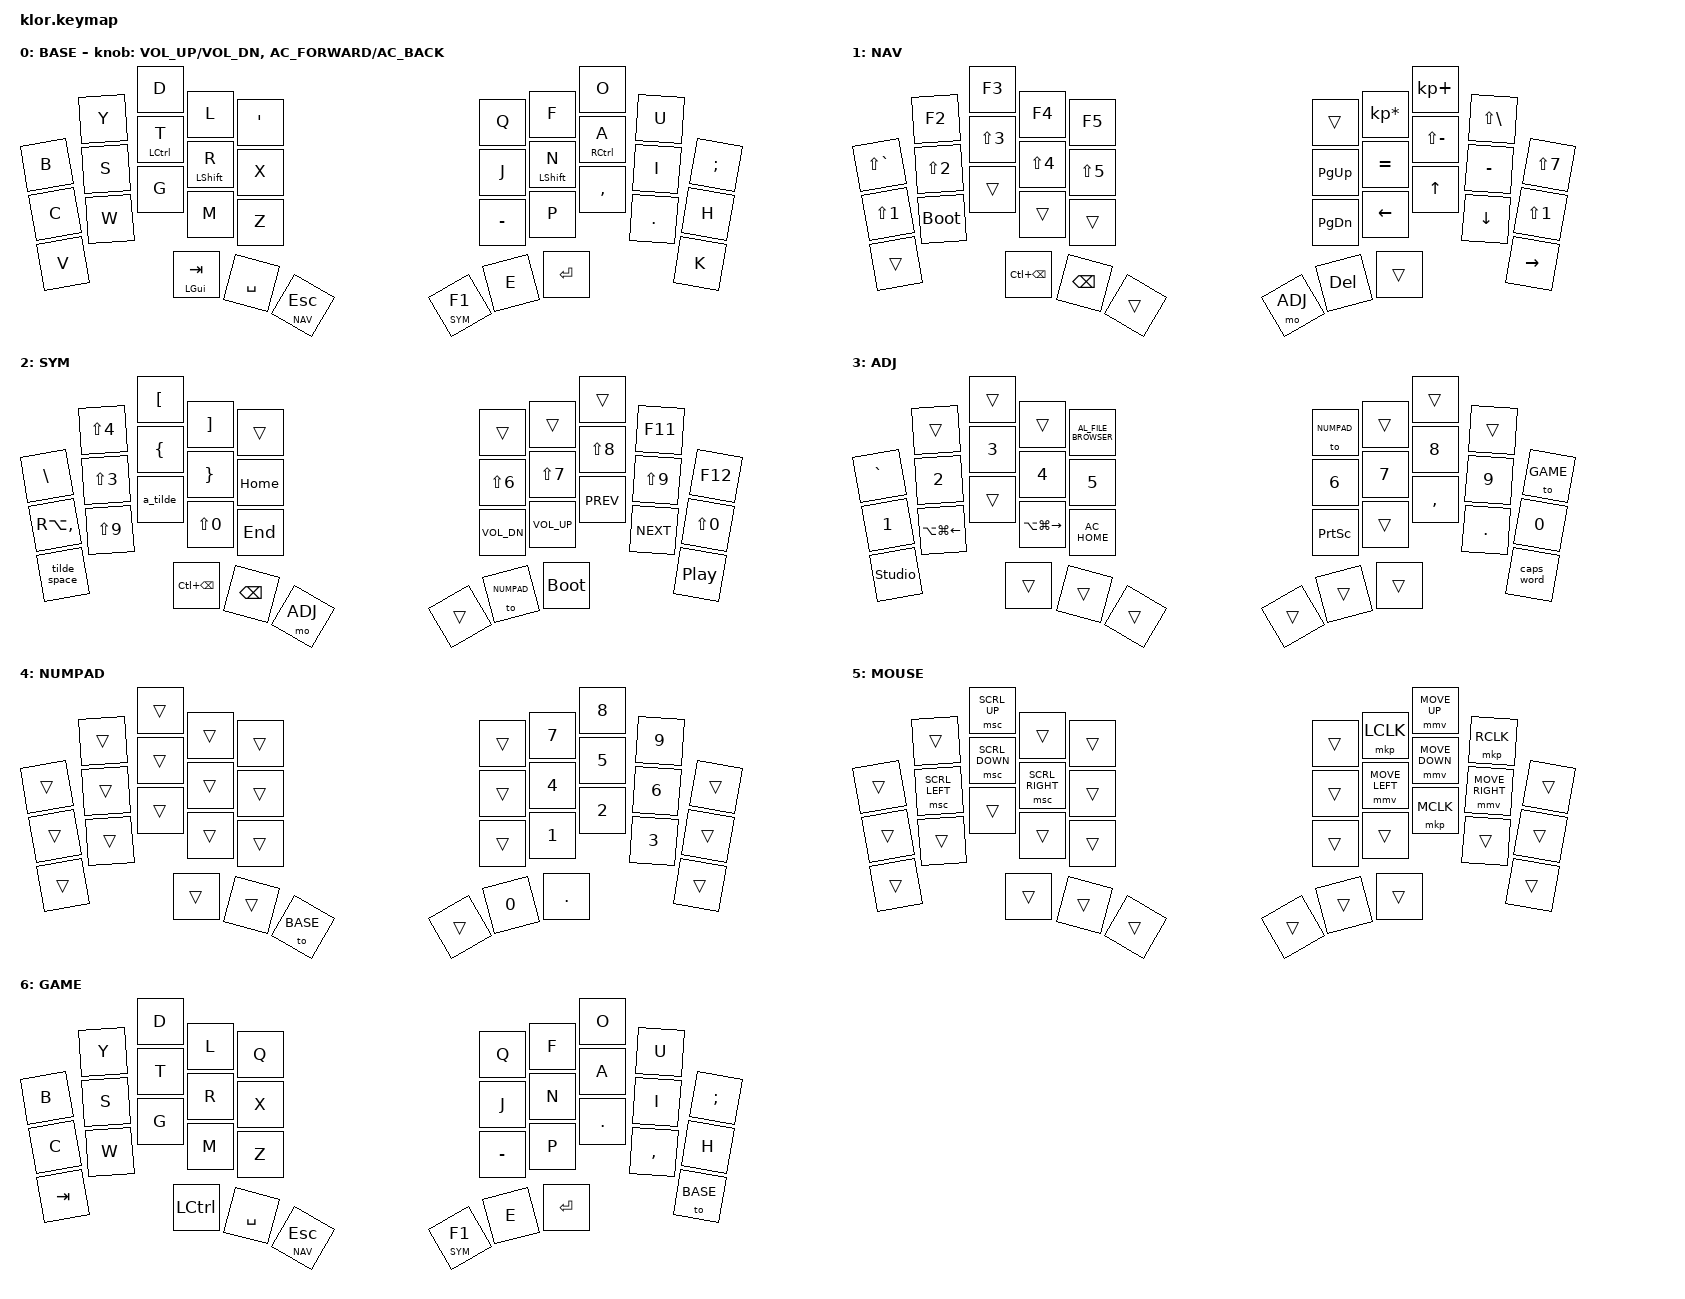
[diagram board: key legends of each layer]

//                               █         █    █            ▄▄▄▀▀▀▀▀▀▄▄▄        █▀▀▀▀▀▀▀▀▀▀█
//                               █        █     █          ▄▀            ▀▄      █          █
//                               █       █      █        ▄▀                ▀▄    █          █
//                               █      █       █        █                  █    █          █
//                               █     █        █       █                    █   █          █
//                               █    █         █       █                    █   █▄▄▄▄▄▄▄▄▄▄█
//                               █   █ █        █       █                    █   █      █
//                               █  █   █       █        █                  █    █       █
//                               █ █     █      █        ▀▄                ▄▀    █        █
//                               ██       █     █          ▀▄            ▄▀      █         █
//                               █         █    █▄▄▄▄▄▄▄▄    ▀▀▀▄▄▄▄▄▄▀▀▀        █          █
//
// ▄▄▄▄▄▄▄▄▄▄▄▄▄▄▄▄▄▄▄▄▄▄▄▄▄▄▄▄▄▄▄▄▄▄▄▄▄▄▄▄▄▄▄▄▄▄▄▄▄▄▄▄▄▄▄▄▄▄▄▄▄▄▄▄▄▄▄▄▄▄▄▄▄▄▄▄▄▄▄▄▄▄▄▄▄▄▄▄▄▄▄▄▄▄▄▄▄▄▄▄▄▄▄▄▄▄▄▄▄▄▄▄▄▄▄▄▄▄▄▄▄▄▄▄▄

#include <behaviors.dtsi>
#include <dt-bindings/zmk/keys.h>
#include <dt-bindings/zmk/bt.h>
#include <dt-bindings/zmk/outputs.h>

#define ZMK_POINTING_DEFAULT_MOVE_VAL 1800

#include <dt-bindings/zmk/pointing.h>


#define BASE 0
#define NAV  1
#define SYM  2
#define ADJ  3
#define NUMPAD 4
#define MOUSE 5
#define GAME 6

&mt {
  quick-tap-ms = <100>;
  global-quick-tap;
  flavor = "tap-preferred";
  tapping-term-ms = <180>;
};

&lt {
    tapping-term-ms = <130>;
    flavor = "hold-preferred";
};

/ {
    behaviors {
        hml: home_row_mod_left {
            compatible = "zmk,behavior-hold-tap";
            #binding-cells = <2>;
            flavor = "tap-preferred";
            require-prior-idle-ms = <100>;
            tapping-term-ms = <200>;
            quick-tap-ms = <150>;
            bindings = <&kp>, <&kp>;
            hold-while-undecided;
            hold-trigger-key-positions = <5 6 7 8 9 15 16 17 18 19 25 26 27 28 29 30 31 32 33 34 35>; // List of keys on the right side of the keyboard
        };
        hmr: home_row_mod_right {
            compatible = "zmk,behavior-hold-tap";
            #binding-cells = <2>;
            flavor = "tap-preferred";
            require-prior-idle-ms = <100>;
            tapping-term-ms = <200>;
            quick-tap-ms = <150>;
            bindings = <&kp>, <&kp>;
            hold-while-undecided;
            hold-trigger-key-positions = <0 1 2 3 4 10 11 12 13 14 20 21 22 23 24 30 31 32 33 34 35>; // List of keys on the left side of the keyboard
        };

    };

     combos {
        compatible = "zmk,combos";

        combo_alt {
          timeout-ms = <50>;
          key-positions = <20 21>;
          bindings = <&kp LALT>;
        };

        combo_quote {
          timeout-ms = <50>;
          key-positions = <27 28>;
          bindings = <&double_quote>;
        };

        combo_slash {
          timeout-ms = <50>;
          key-positions = <26 27>;
          bindings = <&kp SLASH>;
        };

        combo_mouse {
          timeout-ms = <50>;
          key-positions = <30 35>;
          bindings = <&mo MOUSE>;
        };
     };

     macros {
        double_quote: double_quote {
            compatible = "zmk,behavior-macro";
            #binding-cells = <0>;
            bindings
                = <&macro_press &kp LSHFT>
                , <&macro_tap &kp DQT &kp SPACE>
                , <&macro_release &kp LSHFT>
                ;
        };

        a_tilde: a_tilde {
            compatible = "zmk,behavior-macro";
            #binding-cells = <0>;
            bindings
                = <&macro_press &kp LSHFT>
                , <&macro_tap &kp GRAVE>
                , <&macro_release &kp LSHFT>
                , <&macro_tap &kp A>
                ;
        };

        tilde_space: tilde_space {
            compatible = "zmk,behavior-macro";
            #binding-cells = <0>;
            bindings
                = <&macro_press &kp LSHFT>
                , <&macro_tap &kp GRAVE>
                , <&macro_release &kp LSHFT>
                , <&macro_tap &kp SPACE>
                ;
        };
     };

     keymap {
            compatible = "zmk,keymap";
// ▄▄▄▄▄▄▄▄▄▄▄▄▄▄▄▄▄▄▄▄▄▄▄▄▄▄▄▄▄▄▄▄▄▄▄▄▄▄▄▄▄▄▄▄▄▄▄▄▄▄▄▄▄▄▄▄▄▄▄▄▄▄▄▄▄▄▄▄▄▄▄▄▄▄▄▄▄▄▄▄▄▄▄▄▄▄▄▄▄▄▄▄▄▄▄▄▄▄▄▄▄▄▄▄▄▄▄▄▄▄▄▄▄▄▄▄▄▄▄▄▄▄▄▄▄▄▄▄▄▄▄▄▄▄▄▄▄▄▄▄▄▄


      base_layer {
        label= "BASE";

        bindings = <
        &kp B  &kp Y  &kp D         &kp L         &kp SQT            &kp Q      &kp F         &kp O         &kp U   &kp SEMICOLON
        &kp C  &kp S  &hml LCTRL T  &hml LSHFT R  &kp X              &kp J      &hmr LSHFT N  &hmr RCTRL A  &kp I   &kp H
        &kp V  &kp W  &kp G         &kp M         &kp Z              &kp MINUS  &kp P         &kp COMMA     &kp DOT &kp K
                      &mt LGUI TAB  &kp SPACE     &lt NAV ESC        &lt SYM F1 &kp E         &kp RET
                >;
            sensor-bindings = <&inc_dec_kp C_VOL_UP C_VOL_DN &inc_dec_kp C_AC_FORWARD C_AC_BACK>;
            };

      nav_layer {
        label = "NAV";
        bindings = <
        &kp LS(GRAVE)     &kp F2      &kp F3    &kp F4     &kp F5       &trans  &kp KP_ASTERISK  &kp KP_PLUS  &kp LS(BACKSLASH)  &kp LS(N7)
        &kp LS(N1) &kp LS(N2)  &kp LS(N3)  &kp LS(N4)  &kp LS(N5)       &kp PG_UP  &kp EQUAL  &kp LS(MINUS)  &kp MINUS  &kp LS(N1)
        &trans     &bootloader &trans    &trans  &trans                 &kp PG_DN  &kp LEFT_ARROW  &kp UP_ARROW  &kp DOWN_ARROW  &kp RIGHT_ARROW
                            &kp LC(BACKSPACE) &kp BACKSPACE &trans   &mo ADJ   &kp DEL &trans
            >;
      };

      sym_layer {
        label = "SYM";

        bindings = <
        &kp BACKSLASH   &kp LS(N4)   &kp LBKT  &kp RBKT    &trans           &trans        &trans       &trans      &kp F11     &kp F12
        &kp RA(COMMA)   &kp LS(N3)   &kp LBRC  &kp RBRC    &kp HOME         &kp LS(N6)    &kp LS(N7)   &kp LS(N8)  &kp LS(N9)  &kp LS(N0)
        &tilde_space    &kp LS(N9)   &a_tilde  &kp LS(N0)  &kp END          &kp C_VOL_DN  &kp C_VOL_UP &kp C_PREV  &kp C_NEXT  &kp C_PP
                          &kp LC(BACKSPACE)  &kp BACKSPACE &mo ADJ          &trans        &to NUMPAD     &bootloader
            >;
      };

      adjust_layer {
        label = "ADJ";

        bindings = <
            &kp GRAVE &trans  &trans  &trans  &kp C_AL_FILE_BROWSER    &to NUMPAD  &trans &trans &trans  &to GAME
            &kp N1  &kp N2  &kp N3  &kp N4  &kp N5           &kp N6  &kp N7  &kp N8 &kp N9 &kp N0
            &studio_unlock  &kp LA(LG(LEFT_ARROW))  &trans  &kp LA(LG(RIGHT_ARROW))  &kp C_AC_HOME    &kp PRINTSCREEN  &trans &kp COMMA &kp DOT &caps_word
                                    &trans        &trans  &trans    &trans  &trans  &trans
        >;
      };

      numpad_layer {
        label = "NUMPAD";
        bindings = <
        &trans  &trans  &trans &trans  &trans    &trans  &kp N7  &kp N8 &kp N9  &trans
        &trans  &trans  &trans &trans  &trans    &trans  &kp N4  &kp N5 &kp N6  &trans
        &trans  &trans  &trans &trans  &trans    &trans  &kp N1  &kp N2 &kp N3  &trans
                              &trans  &trans  &to BASE    &trans  &kp N0  &kp PERIOD
          >;
      };

      mouse_layer {
        label = "MOUSE";
        bindings = <
        &trans  &trans         &msc SCRL_UP    &trans           &trans    &trans  &mkp LCLK &mmv MOVE_UP &mkp RCLK  &trans
        &trans  &msc SCRL_LEFT &msc SCRL_DOWN  &msc SCRL_RIGHT  &trans    &trans  &mmv MOVE_LEFT &mmv MOVE_DOWN &mmv MOVE_RIGHT  &trans
        &trans  &trans         &trans          &trans           &trans    &trans  &trans  &mkp MCLK &trans  &trans
                                &trans  &trans  &trans           &trans    &trans  &trans
          >;
      };

      game_layer {
        label = "GAME";
        bindings = <
      &kp B  &kp Y  &kp D  &kp L     &kp Q      &kp Q      &kp F  &kp O   &kp U     &kp SEMICOLON
      &kp C  &kp S  &kp T  &kp R     &kp X        &kp J      &kp N  &kp A   &kp I     &kp H
      &kp TAB  &kp W  &kp G  &kp M     &kp Z        &kp MINUS  &kp P  &kp DOT &kp COMMA &to BASE
                &kp LCTRL  &kp SPACE &lt NAV ESC  &lt SYM F1 &kp E  &kp RET
          >;
      };
// ▄▄▄▄▄▄▄▄▄▄▄▄▄▄▄▄▄▄▄▄▄▄▄▄▄▄▄▄▄▄▄▄▄▄▄▄▄▄▄▄▄▄▄▄▄▄▄▄▄▄▄▄▄▄▄▄▄▄▄▄▄▄▄▄▄▄▄▄▄▄▄▄▄▄▄▄▄▄▄▄▄▄▄▄▄▄▄▄▄▄▄▄▄▄▄▄▄▄▄▄▄▄▄▄▄▄▄▄▄▄▄▄▄▄▄▄▄▄▄▄▄▄▄▄▄▄▄▄▄▄▄▄▄▄▄▄▄▄▄▄▄▄
     };
};
